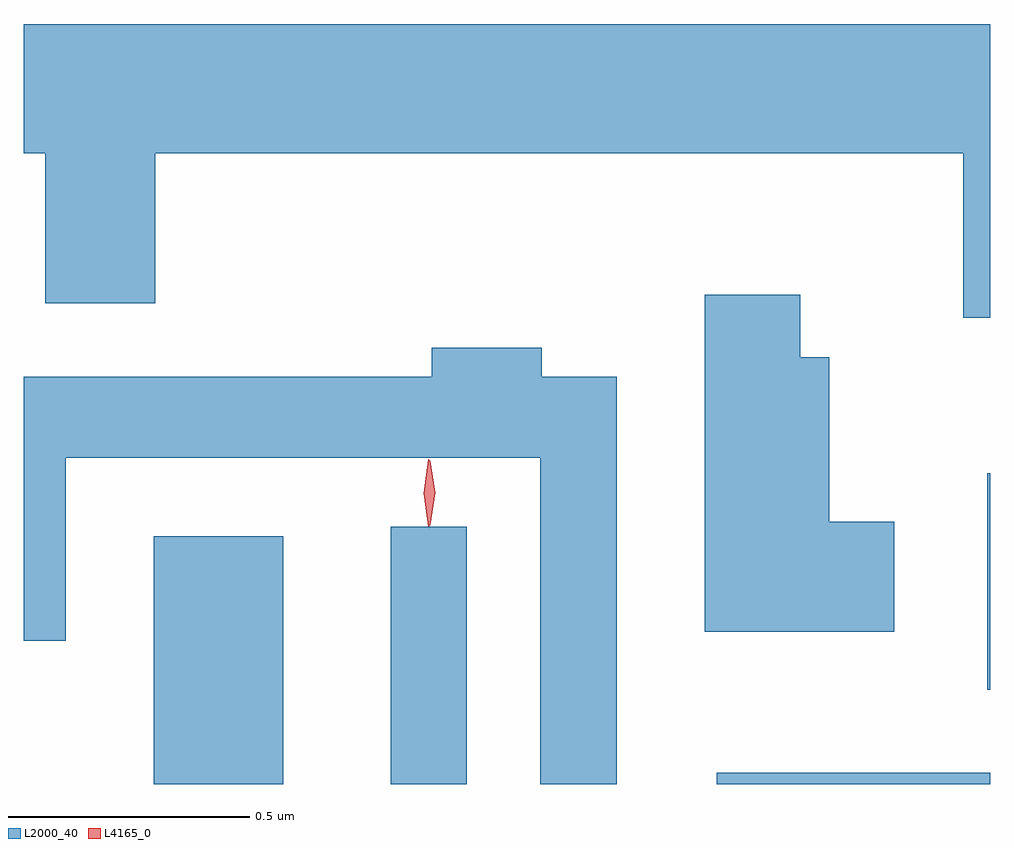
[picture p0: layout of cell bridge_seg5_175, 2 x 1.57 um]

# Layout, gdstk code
import gdstk
lib = gdstk.Library(unit=1e-6, precision=1e-09)
def R(c, l, rs):  # rectangles x0, y0, x1, y1
    for r in rs: c.add(gdstk.rectangle(r[:2], r[2:], *l))
def P(c, l, *ps):  # polygons
    for p in ps: c.add(gdstk.Polygon(p, *l))
L2000_40 = (2000, 40)
L4165_0 = (4165, 0)

bridge_seg5_175 = lib.new_cell('bridge_seg5_175')
R(bridge_seg5_175, L2000_40, [(1191.326,1422.191,1191.594,1422.704), (1191.816,1422.191,1191.974,1422.723), (1192.491,1422.191,1193.057,1422.214), (1193.051,1422.386,1193.057,1422.834)])
P(bridge_seg5_175, L2000_40, [(1193.057,1423.764),(1191.057,1423.764),(1191.057,1423.496),(1191.101,1423.496),(1191.101,1423.186),(1191.329,1423.186),(1191.329,1423.496),(1193.001,1423.496),(1193.001,1423.156),(1193.057,1423.156)],
  [(1192.859,1422.734),(1192.724,1422.734),(1192.724,1423.074),(1192.664,1423.074),(1192.664,1423.204),(1192.466,1423.204),(1192.466,1422.506),(1192.859,1422.506)],
  [(1192.284,1423.034),(1192.129,1423.034),(1192.129,1423.094),(1191.901,1423.094),(1191.901,1423.034),(1191.057,1423.034),(1191.057,1422.488),(1191.144,1422.488),(1191.144,1422.866),(1192.126,1422.866),(1192.126,1422.191),(1192.284,1422.191)])
P(bridge_seg5_175, L4165_0, [(1191.897,1422.727),(1191.888,1422.794),(1191.897,1422.86),(1191.898,1422.86),(1191.898,1422.86),(1191.908,1422.794),(1191.898,1422.727),(1191.898,1422.727)],
  [(1191.894,1422.724),(1191.885,1422.793),(1191.894,1422.862),(1191.895,1422.863),(1191.896,1422.862),(1191.905,1422.793),(1191.896,1422.724),(1191.895,1422.724)])

lib.write_gds('bridge_seg5_175.gds')
